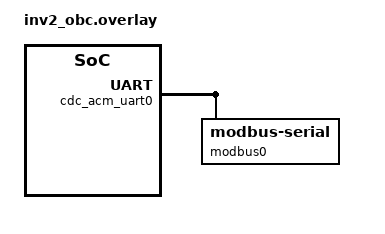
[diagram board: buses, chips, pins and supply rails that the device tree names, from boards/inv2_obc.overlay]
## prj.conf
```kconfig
# Logging settings
CONFIG_LOG=y
CONFIG_LOG_MODE_DEFERRED=y # default mode
CONFIG_LOG_MODE_IMMEDIATE=n
CONFIG_LOG_MODE_MINIMAL=n

# Modbus settings
CONFIG_MODBUS=y
CONFIG_MODBUS_ROLE_CLIENT=y

# State Machine Framework settings
CONFIG_SMF=y
CONFIG_SMF_ANCESTOR_SUPPORT=y
CONFIG_SMF_INITIAL_TRANSITION=y

# CDC ACM Modbus configuration
CONFIG_UART_LINE_CTRL=y
CONFIG_USB_DEVICE_STACK=y
CONFIG_USB_DEVICE_PRODUCT="Zephyr CDC ACM Modbus Master Invictus"
CONFIG_USB_DEVICE_INITIALIZE_AT_BOOT=n
```

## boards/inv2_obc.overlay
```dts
&zephyr_udc0 {
	cdc_acm_uart0: cdc_acm_uart0 {
		compatible = "zephyr,cdc-acm-uart";

		modbus0 {
			compatible = "zephyr,modbus-serial";
			status = "okay";
		};
	};
};
```

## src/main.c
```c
#include <zephyr/kernel.h>
#include <zephyr/modbus/modbus.h>
#include <zephyr/usb/usb_device.h>
#include <zephyr/sys/util.h>
#include <zephyr/drivers/spi.h>

#ifdef CONFIG_ARCH_POSIX
#include <zephyr/drivers/emul.h>
#include <zephyr/drivers/spi_emul.h>
#endif

#include "filling_sm.h"

LOG_MODULE_REGISTER(mbs_sample, LOG_LEVEL_INF);

static int client_iface;

const static struct modbus_iface_param client_param = {
	.mode = MODBUS_MODE_RTU,
	.rx_timeout = 50000,
	.serial =
		{
			// TODO: Double check how high the baud rate can be
			.baud = 115200,
			// NOTE: In RTU mode, modbus uses CRC checks, so parity can be NONE
			.parity = UART_CFG_PARITY_NONE,
			.stop_bits_client = UART_CFG_STOP_BITS_1,
		},
};

#define MODBUS_NODE DT_COMPAT_GET_ANY_STATUS_OKAY(zephyr_modbus_serial)

static int init_modbus_master(void)
{
	const char iface_name[] = {DEVICE_DT_NAME(MODBUS_NODE)};
	client_iface = modbus_iface_get_by_name(iface_name);

	if (client_iface < 0) {
		LOG_ERR("Failed to get client_iface index for %s", iface_name);
		return client_iface;
	}

	return modbus_init_client(client_iface, client_param);
}

int main(void)
{

#if DT_NODE_HAS_COMPAT(DT_PARENT(MODBUS_NODE), zephyr_cdc_acm_uart)
	const struct device *const dev = DEVICE_DT_GET(DT_PARENT(MODBUS_NODE));
	uint32_t dtr = 0;

	if (!device_is_ready(dev) || usb_enable(NULL)) {
		return 0;
	}

	while (!dtr) {
		uart_line_ctrl_get(dev, UART_LINE_CTRL_DTR, &dtr);
		k_sleep(K_MSEC(100));
	}

	LOG_INF("Slave connected on %s", dev->name);
#endif

	if (init_modbus_master()) {
		LOG_ERR("Modbus RTU client initialization failed");
		return 0;
	}

	const int slave_addr = 0x01;

	DEFAULT_FSM_OBJECT(filling_sm_obj, client_iface);
	filling_sm_init(&filling_sm_obj);

	while (1) {
		k_sleep(K_MSEC(1000)); // For now, looping every second is fine

		if (modbus_read_holding_regs(client_iface, slave_addr, 0, filling_sm_obj.data.raw,
					     ARRAY_SIZE(filling_sm_obj.data.raw)) < 0) {
			LOG_ERR("Failed to read holding registers");
			continue;
		}

		LOG_FILLING_DATA(&filling_sm_obj);

		LOG_HEXDUMP_DBG(filling_sm_obj.data.raw, sizeof(filling_sm_obj.data.raw),
				"Raw holding registers");
		smf_run_state(SMF_CTX(&filling_sm_obj));
	}

	return 0;
}
```

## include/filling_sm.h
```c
#ifndef _FILLING_SM_H_
#define _FILLING_SM_H_

#include <zephyr/smf.h>

#include "filling_sm_config.h"

#define CMD_OTHER_START  0x00010000
#define CMD_IDLE_START   0x00000100
#define CMD_GLOBAL_START 0x00000001

#define CMD_OTHER_MASK  0x00FF0000
#define CMD_IDLE_MASK   0x0000FF00
#define CMD_GLOBAL_MASK 0x000000FF

#define CMD_OTHER(x)  ((x) & CMD_OTHER_MASK)
#define CMD_IDLE(x)   ((x) & CMD_IDLE_MASK)
#define CMD_GLOBAL(x) ((x) & CMD_GLOBAL_MASK)

enum cmd_global {
	CMD_STOP = CMD_GLOBAL_START, // ANY -> IDLE
	CMD_ABORT,                   // ANY -> ABORT
	CMD_PAUSE,                   // ANY -> SAFE_PAUSE_IDLE
};

enum cmd_idle {
	CMD_FILL_COPV = CMD_IDLE_START, // IDLE -> FILLING_COPV_IDLE
	CMD_PRE_PRESSURIZE,             // IDLE -> PRE_PRESSURIZING_IDLE
	CMD_FILL_N20,                   // IDLE -> FILLING_N20_IDLE
	CMD_POST_PRESSURIZE,            // IDLE -> POST_PRESSURIZING_IDLE
};

enum cmd_other {
	CMD_READY = CMD_OTHER_START, // ABORT -> IDLE
	CMD_RESUME,                  // SAFE_PAUSE -> IDLE
};

typedef uint32_t cmd_t;

/* List of possible states */
enum filling_state {
	ROOT, // parent state to all states. Used to handle global commands

	IDLE,
	ABORT,
	MANUAL_OP, // NOTE: Acept manual override commands from the ground station

	// SAFE PAUSE
	SAFE_PAUSE, // parent state
	SAFE_PAUSE_IDLE,
	SAFE_PAUSE_VENT,

	// FILLING_COPV (filling N)
	FILLING_COPV, // parent state
	FILLING_COPV_IDLE,
	FILLING_COPV_FILL,

	// PRE_PRESSURIZING
	PRE_PRESSURIZING, // parent state
	PRE_PRESSURIZING_IDLE,
	PRE_PRESSURIZING_VENT,
	PRE_PRESSURIZING_FILL_N,

	// FILLING_N20
	FILLING_N20, // parent state
	FILLING_N20_IDLE,
	FILLING_N20_FILL,
	FILLING_N20_VENT,

	// POST_PRESSURIZING
	POST_PRESSURIZING, // parent state
	POST_PRESSURIZING_IDLE,
	POST_PRESSURIZING_VENT,
	POST_PRESSURIZING_FILL_N,
};

enum valves {
	VALVE_N2O_FILL,
	VALVE_N2O_PURGE,
	VALVE_N_FILL,
	VALVE_N_PURGE,
	VALVE_TANK_TOP,
	VALVE_MAIN,
	VALVE_VENT,
	VALVE_ABORT,
	VALVE_COUNT,
};

/* User defined object */
struct filling_sm_object {
	/* This must be first */
	struct smf_ctx ctx;

	cmd_t command;
	int modbus_client_iface;

	union filling_data {
		struct {
			uint16_t pre_tank_pressure;
			uint16_t main_tank_pressure;
			uint16_t main_tank_weight;
			uint16_t main_tank_temperature;
		}; // anonymous struct
		uint16_t raw[4];
	} data;

	uint8_t valve_states;

	struct safe_pause_config {
		uint16_t target_pre_tank_pressure;
		uint16_t trigger_pre_tank_pressure;
	} safe_pause_config;

	// State Machine Configuration
	struct filling_copv_config {
		uint16_t target_pre_tank_pressure;
	} f_copv_config;

	struct pre_pressurizing_config {
		uint16_t target_main_pressure;
		uint16_t trigger_main_pressure;
	} pre_p_config;

	struct filling_n20_config {
		uint16_t target_main_pressure;
		uint16_t target_main_weight;
		uint16_t trigger_main_pressure;
		uint16_t trigger_main_temp;
	} f_n20_config;

	struct post_pressurizing_config {
		uint16_t target_main_pressure;
		uint16_t trigger_main_pressure;
	} post_p_config;
};

#ifdef UNIT_TEST
extern const struct smf_state filling_states[];
#endif

void filling_sm_init(struct filling_sm_object *initial_s_obj);

#define LOG_FILLING_DATA(fsm)                                                                      \
	do {                                                                                       \
		LOG_INF("Pressurizing Tank P: %u", (fsm)->data.pre_tank_pressure);                 \
		LOG_INF("Main Tank P: %u", (fsm)->data.main_tank_pressure);                        \
		LOG_INF("Main Tank W: %u", (fsm)->data.main_tank_weight);                          \
		LOG_INF("Main Tank T: %u", (fsm)->data.main_tank_temperature);                     \
	} while (0)

#define DEFAULT_FSM_OBJECT(name, client_iface)                                                     \
	struct filling_sm_object name = {                                                          \
		.command = 0,                                                                      \
		.modbus_client_iface = client_iface,                                               \
		.data =                                                                            \
			{                                                                          \
				.raw = {0},                                                        \
			},                                                                         \
		.safe_pause_config =                                                               \
			{                                                                          \
				.target_pre_tank_pressure = SAFE_PAUSE_TARGET_PRE_P,               \
				.trigger_pre_tank_pressure = SAFE_PAUSE_TRIGGER_PRE_P,             \
			},                                                                         \
		.f_copv_config =                                                                   \
			{                                                                          \
				.target_pre_tank_pressure = FILLING_COPV_TARGET_PRE_P,             \
			},                                                                         \
		.pre_p_config =                                                                    \
			{                                                                          \
				.target_main_pressure = PRE_PRESSURIZING_TARGET_MAIN_P,            \
				.trigger_main_pressure = PRE_PRESSURIZING_TRIGGER_MAIN_P,          \
			},                                                                         \
		.f_n20_config =                                                                    \
			{                                                                          \
				.target_main_pressure = FILLING_N20_TARGET_MAIN_P,                 \
				.target_main_weight = FILLING_N20_TARGET_MAIN_W,                   \
				.trigger_main_pressure = FILLING_N20_TRIGGER_MAIN_P,               \
				.trigger_main_temp = FILLING_N20_TRIGGER_MAIN_T,                   \
			},                                                                         \
		.post_p_config =                                                                   \
			{                                                                          \
				.target_main_pressure = POST_PRESSURIZING_TARGET_MAIN_P,           \
				.trigger_main_pressure = POST_PRESSURIZING_TRIGGER_MAIN_P,         \
			},                                                                         \
	}

#endif // _FILLING_SM_H_
```

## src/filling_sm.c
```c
#include "filling_sm.h"

#include <zephyr/logging/log.h>

LOG_MODULE_REGISTER(filling_sm, LOG_LEVEL_DBG);

#ifndef UNIT_TEST
/* Forward declaration of state table.
 * If unittesting, the state table is exported from the header file instead.
 */
static const struct smf_state filling_states[];
#endif

static void root_run(void *o)
{
	struct filling_sm_object *s = (struct filling_sm_object *)o;
	LOG_DBG("Running ROOT state");

	enum cmd_global cmd = CMD_GLOBAL(s->command);
	if (!cmd) {
		return;
	}

	switch (cmd) {
	case CMD_STOP:
		LOG_DBG("Global transition: CMD_STOP -> IDLE");
		smf_set_state(SMF_CTX(s), &filling_states[IDLE]);
		break;

	case CMD_ABORT:
		LOG_DBG("Global transition: CMD_ABORT -> ABORT");
		smf_set_state(SMF_CTX(s), &filling_states[ABORT]);
		break;

	case CMD_PAUSE:
		LOG_DBG("Global transition: CMD_PAUSE -> SAFE_PAUSE");
		smf_set_state(SMF_CTX(s), &filling_states[SAFE_PAUSE]);
		break;

	default:
		LOG_ERR("Unknown global command: %d", cmd);
	}

	cmd = 0; // Clear command
}

/* State Callbacks */

static void idle_entry(void *o)
{
	struct filling_sm_object *s = (struct filling_sm_object *)o;
	(void)s; // unused
	LOG_DBG("Entered IDLE state");
	// Close all valves
	s->valve_states = 0;
}

static void idle_run(void *o)
{
	struct filling_sm_object *s = (struct filling_sm_object *)o;
	LOG_DBG("Running IDLE state");

	enum cmd_idle cmd = CMD_IDLE(s->command);
	if (!cmd) {
		return;
	}

	switch (cmd) {
	case CMD_FILL_COPV:
		LOG_DBG("IDLE state: CMD_FILL_COPV -> FILLING_COPV");
		smf_set_state(SMF_CTX(s), &filling_states[FILLING_COPV]);
		break;
	case CMD_PRE_PRESSURIZE:
		LOG_DBG("IDLE state: CMD_PRE_PRESSURIZE -> PRE_PRESSURIZING");
		smf_set_state(SMF_CTX(s), &filling_states[PRE_PRESSURIZING]);
		break;
	case CMD_FILL_N20:
		LOG_DBG("IDLE state: CMD_FILL_N20 -> FILLING_N20");
		smf_set_state(SMF_CTX(s), &filling_states[FILLING_N20]);
		break;
	case CMD_POST_PRESSURIZE:
		LOG_DBG("IDLE state: CMD_POST_PRESSURIZE -> POST_PRESSURIZING");
		smf_set_state(SMF_CTX(s), &filling_states[POST_PRESSURIZING]);
		break;

	default:
		LOG_ERR("Unknown idle command: %d", cmd);
		smf_set_handled(SMF_CTX(s));
	}

	cmd = 0; // Clear command
}

static void idle_exit(void *o)
{
	struct filling_sm_object *s = (struct filling_sm_object *)o;
	(void)s;
	LOG_DBG("Exiting IDLE state");
}

static void abort_entry(void *o)
{
	struct filling_sm_object *s = (struct filling_sm_object *)o;
	(void)s; // unused
	LOG_DBG("Entered ABORT state");
	// TODO: 
	// Wait for X seconds
	// Close all valves
	s->valve_states = 0;
	// Open abort and tank top valves
	s->valve_states |= BIT(VALVE_ABORT) | BIT(VALVE_TANK_TOP);
}

static void abort_run(void *o)
{
	struct filling_sm_object *s = (struct filling_sm_object *)o;
	LOG_DBG("Running ABORT state");

	enum cmd_other cmd = CMD_OTHER(s->command);
	if (!cmd) {
		return;
	}

	switch (cmd) {
	case CMD_READY:
		LOG_DBG("ABORT state: CMD_READY -> IDLE");
		smf_set_state(SMF_CTX(s), &filling_states[IDLE]);
		break;

	case CMD_RESUME:
		LOG_DBG("ABORT state: CMD_RESUME (no state change)");
		break;

	default:
		LOG_ERR("Unknown OTHER command: %d", cmd);
		smf_set_handled(SMF_CTX(s));
	}

	cmd = 0; // Clear command
}

static void abort_exit(void *o)
{
	struct filling_sm_object *s = (struct filling_sm_object *)o;
	(void)s; // unused
	LOG_DBG("Exiting ABORT state");
}

static void safe_pause_run(void *o)
{
	struct filling_sm_object *s = (struct filling_sm_object *)o;
	LOG_DBG("Running SAFE_PAUSE state");

	// Do something
	// ...

	enum cmd_other cmd = CMD_OTHER(s->command);
	if (!cmd) {
		return;
	}

	switch (cmd) {
	case CMD_READY:
		LOG_DBG("SAFE_PAUSE state: CMD_READY (no state change)");
		break;

	case CMD_RESUME:
		LOG_DBG("SAFE_PAUSE state: CMD_RESUME -> IDLE");
		smf_set_state(SMF_CTX(s), &filling_states[IDLE]);
		break;

	default:
		LOG_ERR("Unknown OTHER command: %d", cmd);
		smf_set_handled(SMF_CTX(s));
	}

	cmd = 0; // Clear command
}

static void safe_pause_idle_entry(void *o)
{
	struct filling_sm_object *s = (struct filling_sm_object *)o;
	(void)s; // unused
	LOG_DBG("Entered SAFE_PAUSE_IDLE state");
	// Close all valves
	s->valve_states = 0;
}

static void safe_pause_idle_run(void *o)
{
	struct filling_sm_object *s = (struct filling_sm_object *)o;
	LOG_DBG("Running SAFE_PAUSE_IDLE state");

	// Do something
	// ...

	if (CMD_GLOBAL(s->command)) {
		return; // Global command takes precedence, do not check conditions
	}

	if (s->data.pre_tank_pressure > s->safe_pause_config.trigger_pre_tank_pressure) {
		const char *var_name = STRINGIFY(s->data.pre_tank_pressure);
		const char *cond_name = STRINGIFY(s->safe_pause_config.trigger_pre_tank_pressure);
		LOG_DBG("SAFE_PAUSE_IDLE: %s (%d) > %s (%d) -> SAFE_PAUSE_VENT", var_name,
			s->data.pre_tank_pressure, cond_name,
			s->safe_pause_config.trigger_pre_tank_pressure);
		smf_set_state(SMF_CTX(s), &filling_states[SAFE_PAUSE_VENT]);
	}
}

static void safe_pause_vent_entry(void *o)
{
	struct filling_sm_object *s = (struct filling_sm_object *)o;
	(void)s; // unused
	LOG_DBG("Entered SAFE_PAUSE_VENT state");
	// Close all valves
	s->valve_states = 0;
	// Open vent valve
	s->valve_states |= BIT(VALVE_VENT);
}

static void safe_pause_vent_run(void *o)
{
	struct filling_sm_object *s = (struct filling_sm_object *)o;
	LOG_DBG("Running SAFE_PAUSE_VENT state");

	if (CMD_GLOBAL(s->command)) {
		return; // Global command takes precedence, do not check conditions
	}

	if (s->data.pre_tank_pressure <= s->safe_pause_config.target_pre_tank_pressure) {
		LOG_DBG("SAFE_PAUSE_VENT: data.pre_tank_pressure (%d) <= target_np (%d) -> "
			"SAFE_PAUSE_IDLE",
			s->data.pre_tank_pressure, s->safe_pause_config.target_pre_tank_pressure);
		smf_set_state(SMF_CTX(s), &filling_states[SAFE_PAUSE_IDLE]);
	}
}

static void filling_copv_run(void *o)
{
	struct filling_sm_object *s = (struct filling_sm_object *)o;
	(void)s;
	LOG_DBG("Running FILLING_COPV state");
	// Do something
	// ...
}

static void filling_copv_idle_entry(void *o)
{
	struct filling_sm_object *s = (struct filling_sm_object *)o;
	(void)s; // unused
	LOG_DBG("Entered FILLING_COPV_IDLE state");
	// Close all valves
	s->valve_states = 0;
}

static void filling_copv_idle_run(void *o)
{
	struct filling_sm_object *s = (struct filling_sm_object *)o;
	LOG_DBG("Running FILLING_COPV_IDLE state");

	// Do something
	// ...

	if (CMD_GLOBAL(s->command)) {
		return; // Global command takes precedence, do not check conditions
	}

	if (s->data.pre_tank_pressure <= s->f_copv_config.target_pre_tank_pressure) {
		const char *var_name = STRINGIFY(s->data.pre_tank_pressure);
		const char *cond_name = STRINGIFY(s->f_copv_config.target_pre_tank_pressure);
		LOG_DBG("FILLING_COPV_IDLE: %s (%d) <= %s (%d) -> FILLING_COPV_FILL", var_name,
			s->data.pre_tank_pressure, cond_name,
			s->f_copv_config.target_pre_tank_pressure);

		smf_set_state(SMF_CTX(s), &filling_states[FILLING_COPV_FILL]);
	}
}

static void filling_copv_fill_entry(void *o)
{
	struct filling_sm_object *s = (struct filling_sm_object *)o;
	(void)s; // unused
	LOG_DBG("Entered FILLING_COPV_FILL state");
	// Close all valves
	s->valve_states = 0;
	// Open N fill valve
	s->valve_states |= BIT(VALVE_N_FILL);
}

static void filling_copv_fill_run(void *o)
{
	struct filling_sm_object *s = (struct filling_sm_object *)o;
	LOG_DBG("Running FILLING_COPV_FILL state");

	// Do something
	// ...

	if (CMD_GLOBAL(s->command)) {
		return; // Global command takes precedence, do not check conditions
	}

	if (s->data.pre_tank_pressure >= s->f_copv_config.target_pre_tank_pressure) {
		const char *var_name = STRINGIFY(s->data.pre_tank_pressure);
		const char *cond_name = STRINGIFY(s->f_copv_config.target_pre_tank_pressure);

		LOG_DBG("FILLING_COPV_FILL: %s (%d) >= %s (%d) -> FILLING_COPV_IDLE", var_name,
			s->data.pre_tank_pressure, cond_name,
			s->f_copv_config.target_pre_tank_pressure);

		smf_set_state(SMF_CTX(s), &filling_states[FILLING_COPV_IDLE]);
	}
}

static void pre_pressurizing_run(void *o)
{
	struct filling_sm_object *s = (struct filling_sm_object *)o;
	(void)s;
	LOG_DBG("Running PRE_PRESSURIZING state");
	// Do something
	// ...
}

static void pre_pressurizing_idle_entry(void *o)
{
	struct filling_sm_object *s = (struct filling_sm_object *)o;
	(void)s; // unused
	LOG_DBG("Entered PRE_PRESSURIZING_IDLE state");
	// Close all valves
	s->valve_states = 0;
}

static void pre_pressurizing_idle_run(void *o)
{
	struct filling_sm_object *s = (struct filling_sm_object *)o;
	LOG_DBG("Running PRE_PRESSURIZING_IDLE state");

	// Do something
	// ...

	if (CMD_GLOBAL(s->command)) {
		return; // Global command takes precedence, do not check conditions
	}

	// TODO: Double check this condition
	if (s->data.pre_tank_pressure > s->pre_p_config.trigger_main_pressure) {
		const char *var_name = STRINGIFY(s->data.pre_tank_pressure);
		const char *cond_name = STRINGIFY(s->pre_p_config.trigger_main_pressure);
		LOG_DBG("PRE_PRESSURIZING_IDLE: %s (%d) > %s (%d) -> PRE_PRESSURIZING_VENT",
			var_name, s->data.pre_tank_pressure, cond_name,
			s->pre_p_config.trigger_main_pressure);

		smf_set_state(SMF_CTX(s), &filling_states[PRE_PRESSURIZING_VENT]);
		return;
	}

	if (s->data.main_tank_pressure < s->pre_p_config.target_main_pressure) {
		const char *var_name = STRINGIFY(s->data.main_tank_pressure);
		const char *cond_name = STRINGIFY(s->pre_p_config.target_main_pressure);
		LOG_DBG("PRE_PRESSURIZING_IDLE: %s (%d) < %s (%d) ->  PRE_PRESSURIZING_FILL_N",
			var_name, s->data.main_tank_pressure, cond_name,
			s->pre_p_config.target_main_pressure);

		smf_set_state(SMF_CTX(s), &filling_states[PRE_PRESSURIZING_FILL_N]);
	}
}

static void pre_pressurizing_fill_entry(void *o)
{
	struct filling_sm_object *s = (struct filling_sm_object *)o;
	(void)s; // unused
	LOG_DBG("Entered PRE_PRESSURIZING_FILL_N state");
	// Close all valves
	s->valve_states = 0;
	// Open N fill valve
	s->valve_states |= BIT(VALVE_TANK_TOP) | BIT(VALVE_N_FILL);
}

static void pre_pressurizing_fill_run(void *o)
{
	struct filling_sm_object *s = (struct filling_sm_object *)o;
	LOG_DBG("Running PRE_PRESSURIZING_FILL_N state");

	// Do something
	// ...

	if (CMD_GLOBAL(s->command)) {
		return; // Global command takes precedence, do not check conditions
	}

	if (s->data.main_tank_pressure >= s->pre_p_config.target_main_pressure) {
		const char *var_name = STRINGIFY(s->data.main_tank_pressure);
		const char *cond_name = STRINGIFY(s->pre_p_config.target_main_pressure);
		LOG_DBG("PRE_PRESSURIZING_FILL_N: %s (%d) >= %s (%d) -> PRE_PRESSURIZING_IDLE",
			var_name, s->data.main_tank_pressure, cond_name,
			s->pre_p_config.target_main_pressure);

		smf_set_state(SMF_CTX(s), &filling_states[PRE_PRESSURIZING_IDLE]);
	}
}

static void pre_pressurizing_vent_entry(void *o)
{
	struct filling_sm_object *s = (struct filling_sm_object *)o;
	(void)s; // unused
	LOG_DBG("Entered PRE_PRESSURIZING_VENT state");
	// Close all valves
	s->valve_states = 0;
	// Open vent valve
	s->valve_states |= BIT(VALVE_VENT);
}

static void pre_pressurizing_vent_run(void *o)
{
	struct filling_sm_object *s = (struct filling_sm_object *)o;
	LOG_DBG("Running PRE_PRESSURIZING_VENT state");

	// Do something
	// ...

	if (CMD_GLOBAL(s->command)) {
		return; // Global command takes precedence, do not check conditions
	}

	// TODO: Double check this condition
	if (s->data.pre_tank_pressure <= s->pre_p_config.target_main_pressure) {
		const char *var_name = STRINGIFY(s->data.pre_tank_pressure);
		const char *cond_name = STRINGIFY(s->pre_p_config.target_main_pressure);
		LOG_DBG("PRE_PRESSURIZING_VENT: %s (%d) <= %s (%d) -> PRE_PRESSURIZING_IDLE",
			var_name, s->data.pre_tank_pressure, cond_name,
			s->pre_p_config.target_main_pressure);

		smf_set_state(SMF_CTX(s), &filling_states[PRE_PRESSURIZING_IDLE]);
	}
}

static void filling_n20_run(void *o)
{
	struct filling_sm_object *s = (struct filling_sm_object *)o;
	(void)s;
	LOG_DBG("Running FILLING_N20 state");
	// Do something
	// ...
}

static void filling_n20_idle_run(void *o)
{
	struct filling_sm_object *s = (struct filling_sm_object *)o;
	LOG_DBG("Running FILLING_N20_IDLE state");

	// Do something
	// ...

	if (CMD_GLOBAL(s->command)) {
		return; // Global command takes precedence, do not check conditions
	}

	if (s->data.main_tank_weight < s->f_n20_config.target_main_weight) {
		const char *var_name = STRINGIFY(s->data.main_tank_weight);
		const char *cond_name = STRINGIFY(s->f_n20_config.target_main_weight);
		LOG_DBG("FILLING_N20_IDLE: %s (%d) < %s (%d) -> FILLING_N20_FILL", var_name,
			s->data.main_tank_weight, cond_name, s->f_n20_config.target_main_weight);

		smf_set_state(SMF_CTX(s), &filling_states[FILLING_N20_FILL]);
	}
}

static void filling_n20_fill_run(void *o)
{
	struct filling_sm_object *s = (struct filling_sm_object *)o;
	LOG_DBG("Running FILLING_N20_FILL state");

	// Do something
	// ...

	if (CMD_GLOBAL(s->command)) {
		return; // Global command takes precedence, do not check conditions
	}

	if (s->data.main_tank_pressure >= s->f_n20_config.trigger_main_pressure &&
	    s->data.main_tank_temperature > s->f_n20_config.trigger_main_temp) {
		const char *var_name = STRINGIFY(s->data.main_tank_pressure);
		const char *cond_name = STRINGIFY(s->f_n20_config.trigger_main_pressure);

		const char *var2_name = STRINGIFY(s->data.main_tank_temperature);
		const char *cond2_name = STRINGIFY(s->f_n20_config.trigger_main_temp);

		LOG_DBG("FILLING_N20_FILL: %s (%d) >= %s (%d) && %s (%d) > %s (%d) ->  "
			"FILLING_N20_VENT",
			var_name, s->data.main_tank_pressure, cond_name,
			s->f_n20_config.trigger_main_pressure, var2_name,
			s->data.main_tank_temperature, cond2_name,
			s->f_n20_config.trigger_main_temp);

		smf_set_state(SMF_CTX(s), &filling_states[FILLING_N20_VENT]);
		return;
	}

	if (s->data.main_tank_weight >= s->f_n20_config.target_main_weight) {
		const char *var_name = STRINGIFY(s->data.main_tank_weight);
		const char *cond_name = STRINGIFY(s->f_n20_config.target_main_weight);
		LOG_DBG("FILLING_N20_FILL: %s (%d) >= %s (%d) -> FILLING_N20_IDLE", var_name,
			s->data.main_tank_weight, cond_name, s->f_n20_config.target_main_weight);

		smf_set_state(SMF_CTX(s), &filling_states[FILLING_N20_IDLE]);
	}
}

static void filling_n20_vent_run(void *o)
{
	struct filling_sm_object *s = (struct filling_sm_object *)o;
	LOG_DBG("Running FILLING_N20_VENT state");

	// Do something
	// ...

	if (CMD_GLOBAL(s->command)) {
		return; // Global command takes precedence, do not check conditions
	}

	if (s->data.main_tank_pressure <= s->f_n20_config.target_main_weight ||
	    s->data.main_tank_temperature <= s->f_n20_config.trigger_main_temp) {
		const char *var_name = STRINGIFY(s->data.main_tank_pressure);
		const char *cond_name = STRINGIFY(s->f_n20_config.target_main_weight);

		const char *var2_name = STRINGIFY(s->data.main_tank_temperature);
		const char *cond2_name = STRINGIFY(s->f_n20_config.trigger_main_temp);

		LOG_DBG("FILLING_N20_VENT: %s (%d) <= %s (%d) || %s (%d) <= %s (%d) -> "
			"FILLING_N20_IDLE",
			var_name, s->data.main_tank_pressure, cond_name,
			s->f_n20_config.target_main_weight, var2_name,
			s->data.main_tank_temperature, cond2_name,
			s->f_n20_config.trigger_main_temp);

		smf_set_state(SMF_CTX(s), &filling_states[FILLING_N20_FILL]);
	}
}

static void post_pressurizing_run(void *o)
{
	struct filling_sm_object *s = (struct filling_sm_object *)o;
	(void)s;
	LOG_DBG("Running POST_PRESSURIZING state");
	// Do something
	// ...
}

static void post_pressurizing_idle_run(void *o)
{
	struct filling_sm_object *s = (struct filling_sm_object *)o;
	LOG_DBG("Running POST_PRESSURIZING_IDLE state");

	// Do something
	// ...

	if (CMD_GLOBAL(s->command)) {
		return; // Global command takes precedence, do not check conditions
	}

	if (s->data.pre_tank_pressure > s->post_p_config.trigger_main_pressure) {
		const char *var_name = STRINGIFY(s->data.pre_tank_pressure);
		const char *cond_name = STRINGIFY(s->post_p_config.trigger_main_pressure);

		LOG_DBG("POST_PRESSURIZING_IDLE: %s (%d) > %s (%d) -> POST_PRESSURIZING_VENT",
			var_name, s->data.pre_tank_pressure, cond_name,
			s->post_p_config.trigger_main_pressure);

		smf_set_state(SMF_CTX(s), &filling_states[POST_PRESSURIZING_VENT]);
		return;
	}

	if (s->data.main_tank_pressure < s->post_p_config.target_main_pressure) {
		const char *var_name = STRINGIFY(s->data.main_tank_pressure);
		const char *cond_name = STRINGIFY(s->post_p_config.target_main_pressure);
		LOG_DBG("POST_PRESSURIZING_IDLE: %s (%d) < %s (%d) -> POST_PRESSURIZING_FILL_N",
			var_name, s->data.main_tank_pressure, cond_name,
			s->post_p_config.target_main_pressure);

		smf_set_state(SMF_CTX(s), &filling_states[POST_PRESSURIZING_FILL_N]);
	}
}

static void post_pressurizing_fill_run(void *o)
{
	struct filling_sm_object *s = (struct filling_sm_object *)o;
	LOG_DBG("Running POST_PRESSURIZING_FILL_N state");

	// Do something
	// ...

	if (CMD_GLOBAL(s->command)) {
		return; // Global command takes precedence, do not check conditions
	}

	if (s->data.main_tank_pressure >= s->post_p_config.target_main_pressure) {
		const char *var_name = STRINGIFY(s->data.main_tank_pressure);
		const char *cond_name = STRINGIFY(s->post_p_config.target_main_pressure);

		LOG_DBG("POST_PRESSURIZING_FILL_N: %s (%d) >= %s (%d) -> POST_PRESSURIZING_IDLE",
			var_name, s->data.main_tank_pressure, cond_name,
			s->post_p_config.target_main_pressure);

		smf_set_state(SMF_CTX(s), &filling_states[POST_PRESSURIZING_IDLE]);
	}
}

static void post_pressurizing_vent_run(void *o)
{
	struct filling_sm_object *s = (struct filling_sm_object *)o;
	LOG_DBG("Running POST_PRESSURIZING_VENT state");

	// Do something
	// ...

	if (CMD_GLOBAL(s->command)) {
		return; // Global command takes precedence, do not check conditions
	}

	if (s->data.pre_tank_pressure <= s->post_p_config.target_main_pressure) {
		const char *var_name = STRINGIFY(s->data.pre_tank_pressure);
		const char *cond_name = STRINGIFY(s->post_p_config.target_main_pressure);

		LOG_DBG("POST_PRESSURIZING_VENT: %s (%d) <= %s (%d) -> POST_PRESSURIZING_IDLE",
			var_name, s->data.pre_tank_pressure, cond_name,
			s->post_p_config.target_main_pressure);

		smf_set_state(SMF_CTX(s), &filling_states[POST_PRESSURIZING_IDLE]);
	}
}

#ifdef UNIT_TEST
const struct smf_state filling_states[] = {
#else
static const struct smf_state filling_states[] = {
#endif
	// clang-format off
    // SMF_CREATE_STATE(s_entry_cb, s_run_cb, s_exit_cb, s_parent, s_initial_o),
    [ROOT]      = SMF_CREATE_STATE(NULL, root_run, NULL, NULL, &filling_states[IDLE]),
    
    [IDLE]      = SMF_CREATE_STATE(idle_entry, idle_run, idle_exit, &filling_states[ROOT], NULL),
    [ABORT]     = SMF_CREATE_STATE(abort_entry, abort_run, abort_exit,&filling_states[ROOT], NULL),
    [MANUAL_OP] = SMF_CREATE_STATE(NULL, NULL, NULL, NULL, NULL), // TODO

    [SAFE_PAUSE]        = SMF_CREATE_STATE(NULL, safe_pause_run, NULL, &filling_states[ROOT], &filling_states[SAFE_PAUSE_IDLE]),
    [SAFE_PAUSE_IDLE]   = SMF_CREATE_STATE(NULL, safe_pause_idle_run, NULL, &filling_states[SAFE_PAUSE], NULL),
    [SAFE_PAUSE_VENT]   = SMF_CREATE_STATE(NULL, safe_pause_vent_run, NULL, &filling_states[SAFE_PAUSE], NULL),

    [FILLING_COPV]      = SMF_CREATE_STATE(NULL, filling_copv_run, NULL, &filling_states[ROOT], &filling_states[FILLING_COPV_IDLE]),
    [FILLING_COPV_IDLE] = SMF_CREATE_STATE(NULL, filling_copv_idle_run, NULL, &filling_states[FILLING_COPV], NULL),
    [FILLING_COPV_FILL] = SMF_CREATE_STATE(NULL, filling_copv_fill_run, NULL, &filling_states[FILLING_COPV], NULL),

    [PRE_PRESSURIZING]          = SMF_CREATE_STATE(NULL, pre_pressurizing_run, NULL, &filling_states[ROOT], &filling_states[PRE_PRESSURIZING_IDLE]),
    [PRE_PRESSURIZING_IDLE]     = SMF_CREATE_STATE(NULL, pre_pressurizing_idle_run, NULL, &filling_states[PRE_PRESSURIZING], NULL),
    [PRE_PRESSURIZING_VENT]     = SMF_CREATE_STATE(NULL, pre_pressurizing_vent_run, NULL, &filling_states[PRE_PRESSURIZING], NULL),
    [PRE_PRESSURIZING_FILL_N]   = SMF_CREATE_STATE(NULL, pre_pressurizing_fill_run, NULL, &filling_states[PRE_PRESSURIZING], NULL),

    [FILLING_N20]       = SMF_CREATE_STATE(NULL, filling_n20_run, NULL, &filling_states[ROOT], &filling_states[FILLING_N20_IDLE]),
    [FILLING_N20_IDLE]  = SMF_CREATE_STATE(NULL, filling_n20_idle_run, NULL, &filling_states[FILLING_N20], NULL),
    [FILLING_N20_FILL]  = SMF_CREATE_STATE(NULL, filling_n20_fill_run, NULL, &filling_states[FILLING_N20], NULL),
    [FILLING_N20_VENT]  = SMF_CREATE_STATE(NULL, filling_n20_vent_run, NULL, &filling_states[FILLING_N20], NULL),

    [POST_PRESSURIZING]         = SMF_CREATE_STATE(NULL, post_pressurizing_run, NULL, &filling_states[ROOT], &filling_states[POST_PRESSURIZING_IDLE]),
    [POST_PRESSURIZING_IDLE]    = SMF_CREATE_STATE(NULL, post_pressurizing_idle_run, NULL, &filling_states[POST_PRESSURIZING], NULL),
    [POST_PRESSURIZING_VENT]    = SMF_CREATE_STATE(NULL, post_pressurizing_vent_run, NULL, &filling_states[POST_PRESSURIZING], NULL),
    [POST_PRESSURIZING_FILL_N]  = SMF_CREATE_STATE(NULL, post_pressurizing_fill_run, NULL, &filling_states[POST_PRESSURIZING], NULL),
	// clang-format on
};

void filling_sm_init(struct filling_sm_object *initial_s_obj)
{
	LOG_DBG("Initializing state machine: setting initial state to IDLE");
	smf_set_initial(SMF_CTX(initial_s_obj), &filling_states[IDLE]);
}
```
